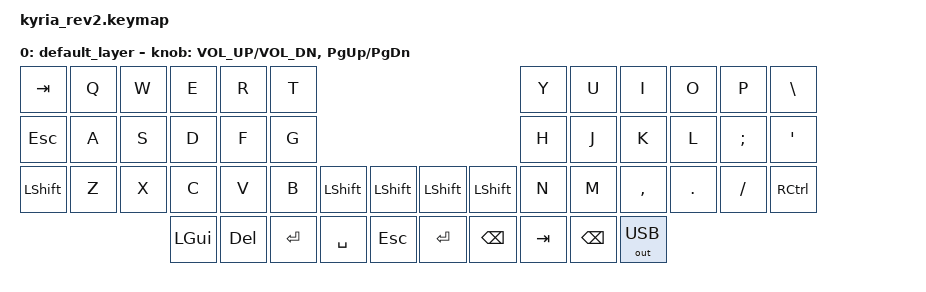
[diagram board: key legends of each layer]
/*
* Copyright (c) 2020 The ZMK Contributors
*
* SPDX-License-Identifier: MIT
*/

#include <behaviors.dtsi>
#include <dt-bindings/zmk/keys.h>
#include <dt-bindings/zmk/bt.h>
#include <dt-bindings/zmk/outputs.h>

#define DEFAULT 0
#define LOWER   1
#define RAISE   2

/ {
	keymap {
		compatible = "zmk,keymap";

		default_layer {
			bindings = <
				// ---------------------------------------------------------------------------------------------------------------------------------
				// |  TAB  |  Q  |  W  |  E   |  R   |  T   |                                          |  Y   |  U    |  I    |  O   |   P   |   \  |
				  &kp TAB   &kp Q &kp W &kp E &kp R &kp T                                             &kp Y &kp U  &kp I     &kp O   &kp P    &kp BSLH
				// ---------------------------------------------------------------------------------------------------------------------------------
				// |  ESC  |  A  |  S  |  D   |  F   |  G   |                                          |  H   |  J    |  K    |  L   |   ;   |   '  |
				&kp ESC   &kp A &kp S &kp D &kp F &kp G                                                &kp H &kp J  &kp K     &kp L   &kp SEMI &kp SQT
				// ---------------------------------------------------------------------------------------------------------------------------------
				// | SHIFT |  Z  |  X  |  C   |  V   |  B   | L SHIFT | L SHIFT |  | L SHIFT | L SHIFT |  N   |  M    |  ,    |  .   |   /   | CTRL |
				&kp LSHFT &kp Z &kp X &kp C  &kp V  &kp B &kp LSHFT &kp LSHFT     &kp LSHFT &kp LSHFT &kp N  &kp M  &kp COMMA &kp DOT &kp FSLH &kp RCTRL
				// ---------------------------------------------------------------------------------------------------------------------------------
				//                     | GUI  | DEL  | RET  |  SPACE  |   ESC   |  |   RET   |  BSPC  | TAB  | BSPC  | USB |
									&kp LGUI &kp DEL &kp RET &kp SPACE &kp ESC     &kp RET  &kp BSPC &kp TAB &kp BSPC &out OUT_USB
				// ---------------------------------------------------------------------------------------------------------------------------------
			>;

			sensor-bindings = <&inc_dec_kp C_VOL_UP C_VOL_DN &inc_dec_kp PG_UP PG_DN>;
		};
	};
		behaviors {


	};
};
